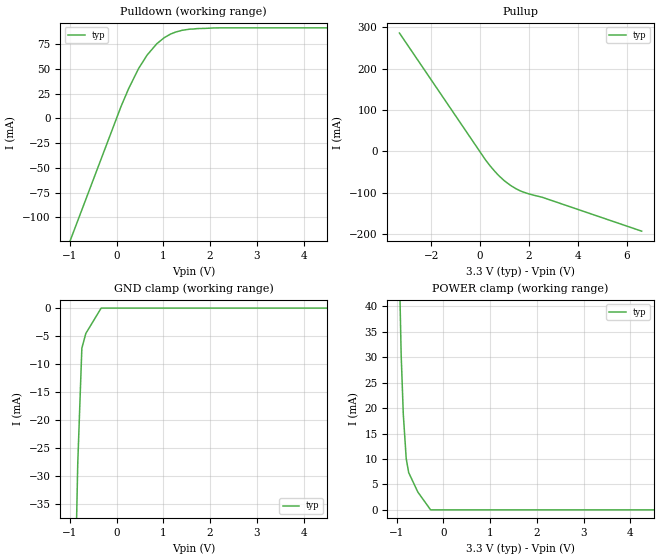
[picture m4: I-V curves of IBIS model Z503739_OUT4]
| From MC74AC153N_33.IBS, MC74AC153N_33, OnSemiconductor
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| (C) COPYRIGHT 1993-2000
| MENTOR GRAPHICS CORPORATION
| ICX STANDARD LIBRARY, ICX PROJECT MODELING,
| ICX CUSTOM MODELING, ICX VENDOR MODEL
| ALL RIGHTS RESERVED.
| THE FOLLOWING ARE TRADEMARKS OR SERVICE MARKS OF
| MENTOR GRAPHICS CORPORATION:ICX (R), ICX STANDARD
| LIBRARY(R), ICX PROJECT MODELING(R), ICX CUSTOM
| MODELING(R), qualityIBIS(TM), MODELVIEWER(TM),
| AND MODELEDITOR(TM)
| ALL COPIES OF SOFTWARE, INCLUDING BUT NOT LIMITED TO
| ANY MODIFICATIONS, ENHANCEMENTS OR DERIVATIVE WORKS,
| MUST CONTAIN ALL MENTOR GRAPHICS CORPORATION'S
| NOTICES AND LEGENDS, INCLUDING THOSE EMBEDDED IN
| SOFTWARE AND THOSE AFFIXED TO SOFTWARE MEDIUM
| AND CONTAINER, AS RECEIVED FROM MENTOR GRAPHICS
| CORPORATION.
| Model Application Version 1.89 2/18/99.
[Model] Z503739_OUT4
Model_type Output
Vref=0.000V
Rref=500.0ohms
Cref=50.00pF
Vmeas=1.650V
C_comp 8.000pF NA NA
| variable typ   min   max
[Voltage Range] 3.300V NA NA
[POWER Clamp Reference] 3.300V NA NA
[Pullup Reference] 3.300V NA NA
[Pulldown Reference] 0.000V NA NA
[GND Clamp Reference] 0.000V NA NA
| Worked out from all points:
|   slope of the pulldown table from 0 to 0.495 V, typ, clamps not added: 9.49 ohm
|   slope of the pullup table from 0 to 0.495 V, typ, clamps not added: 12.5 ohm
[GND Clamp]
-3.3V     -746.4mA   NA         NA
-1.055V   -117.8mA   NA         NA
-829.6mV  -27.7mA    NA         NA
-742.1mV  -7.164mA   NA         NA
-657.8mV  -4.538mA   NA         NA
-328.9mV  0A         NA         NA
6.6V      0A         NA         NA
[Pulldown]
-3.3V     -411.8mA   NA         NA
93.38mV   11.83mA    NA         NA
253.9mV   29.73mA    NA         NA
471.3mV   50.54mA    NA         NA
654.4mV   64.21mA    NA         NA
860.6mV   75.62mA    NA         NA
1.016V    81.62mA    NA         NA
1.153V    85.4mA     NA         NA
1.407V    89.28mA    NA         NA
1.567V    90.42mA    NA         NA
2.081V    91.64mA    NA         NA
6.6V      91.74mA    NA         NA
[Pullup]
-3.3V     286.2mA    NA         NA
214mV     -20.52mA   NA         NA
604mV     -48.99mA   NA         NA
996mV     -71.75mA   NA         NA
1.249V    -82.9mA    NA         NA
1.711V    -97.51mA   NA         NA
2.536V    -111.3mA   NA         NA
6.6V      -193.3mA   NA         NA
[POWER Clamp]
-3.3V     1.354A     NA         NA
-1.043V   91.99mA    NA         NA
-904mV    30.52mA    NA         NA
-858mV    18.77mA    NA         NA
-796mV    10.08mA    NA         NA
-743mV    7.327mA    NA         NA
-548mV    3.51mA     NA         NA
-274mV    0A         NA         NA
6.6V      0A         NA         NA
[Ramp]
| variable typ min max
dV/dt_r 1.949/322.0p NA NA
dV/dt_f 1.949/290.2p NA NA
R_load = 500.0Ohms
